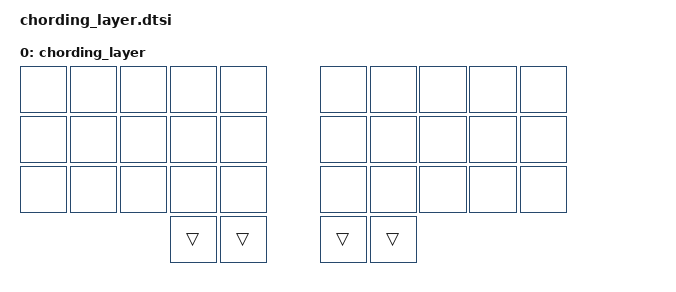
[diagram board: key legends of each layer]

/*           34 Keys
╭──────────────╮ ╭──────────────╮
│ 0  1  2  3  4│ │ 5  6  7  8  9│
│10 11 12 13 14│ │15 16 17 18 19│
│20 21 22 23 24│ │25 26 27 28 29│
╰────────╮30 31│ │32 33╭────────╯
         ╰─────╯ ╰─────╯         */

// chord layer
// so chords can be done with a leader key

/ {
    keymap {
        compatible = "zmk,keymap";
                chording_layer {
// ---------------------------------------------------------------
// |     |     |     |     |     | |     |     |     |     |     |
// |     |     |     |     |     | |     |     |     |     |     |
// |     |     |     |     |     | |     |     |     |     |     |
//                   |     |     | |     |     |     |     |     |
                        bindings = <
//┌───────┬───────┬───────┬───────┬───────┐ ┌──────┬──────┬───────┬──────┬───────┐
    &none   &none   &none   &none   &none    &none  &none   &none   &none  &none 
//├───────┼───────┼───────┼───────┼───────┤ ├──────┼──────┼───────┼──────┼───────┤
    &none   &none   &none   &none   &none    &none  &none   &none   &none  &none 
//├───────┼───────┼───────┼───────┼───────┤ ├──────┼──────┼───────┼──────┼───────┤
    &none   &none   &none   &none   &none    &none  &none   &none   &none  &none 
//└───────┴───────┴───────┴───────┴───────┘ └──────┴──────┴───────┴──────┴───────┘
                            &trans  &trans   &trans &trans
//                        └───────┴───────┘ └──────┴──────┘                        
                        >;
                };
        };
};
